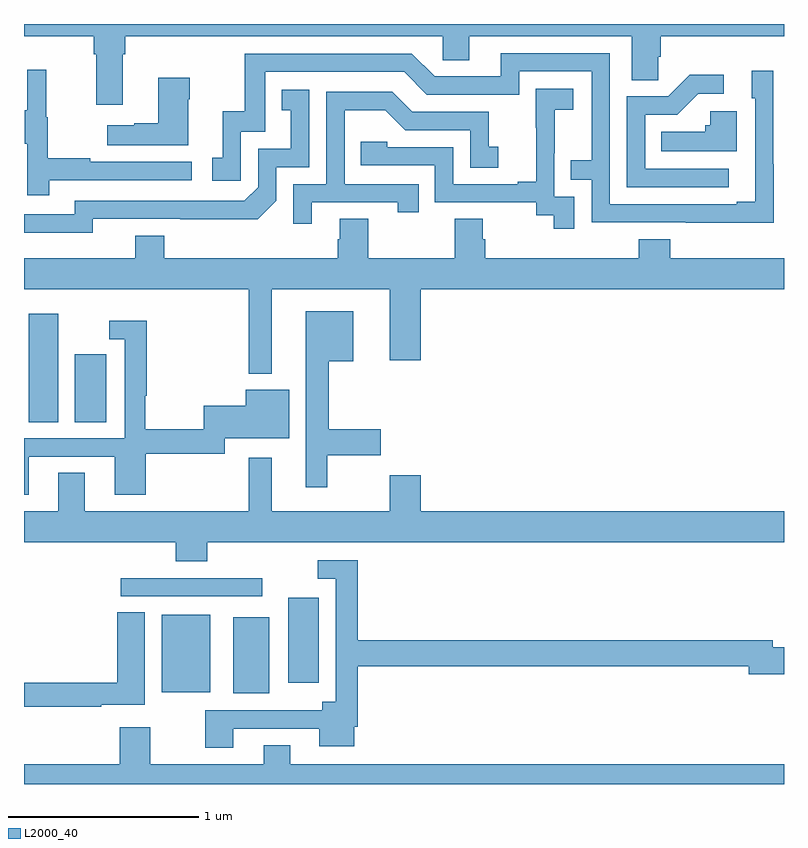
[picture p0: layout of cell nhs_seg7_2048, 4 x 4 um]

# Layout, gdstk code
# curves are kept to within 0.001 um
import gdstk
lib = gdstk.Library(unit=1e-6, precision=1e-09)
def R(c, l, rs):  # rectangles x0, y0, x1, y1
    for r in rs: c.add(gdstk.rectangle(r[:2], r[2:], *l))
def P(c, l, *ps):  # polygons
    for p in ps: c.add(gdstk.Polygon(p, *l))
L2000_40 = (2000, 40)

nhs_seg7_2048 = lib.new_cell('nhs_seg7_2048')
R(nhs_seg7_2048, L2000_40, [(248.102,1010.477,248.29,1010.878), (247.724,1010.483,247.981,1010.89), (248.39,1010.532,248.551,1010.98), (247.509,1010.988,248.254,1011.084), (247.025,1011.904,247.18,1012.474), (247.268,1011.904,247.432,1012.261)])
P(nhs_seg7_2048, L2000_40, [(247.519,1013.84),(247.532,1013.84),(247.532,1013.936),(249.204,1013.936),(249.204,1013.809),(249.343,1013.809),(249.343,1013.936),(250.199,1013.936),(250.199,1013.704),(250.338,1013.704),(250.338,1013.827),(250.352,1013.827),(250.352,1013.936),(251,1013.936),(251,1014),(247,1014),(247,1013.936),(247.367,1013.936),(247.367,1013.84),(247.379,1013.84),(247.379,1013.574),(247.519,1013.574)],
  [(250.947,1013.261),(250.944,1013.261),(250.944,1013.755),(250.829,1013.755),(250.829,1013.61),(250.848,1013.61),(250.848,1013.065),(250.751,1013.065),(250.751,1013.052),(250.083,1013.052),(250.083,1013.847),(249.509,1013.847),(249.509,1013.724),(249.162,1013.724),(249.042,1013.844),(248.163,1013.844),(248.163,1013.542),(248.045,1013.542),(248.045,1013.295),(247.992,1013.295),(247.992,1013.175),(248.142,1013.175),(248.142,1013.433),(248.271,1013.433),(248.271,1013.748),(249,1013.748),(249.12,1013.628),(249.606,1013.628),(249.606,1013.751),(249.987,1013.751),(249.987,1013.282),(249.877,1013.282),(249.877,1013.181),(249.987,1013.181),(249.987,1012.956),(250.947,1012.955)],
  [(247.133,1013.178),(247.882,1013.178),(247.882,1013.274),(247.349,1013.274),(247.349,1013.294),(247.126,1013.294),(247.126,1013.508),(247.118,1013.508),(247.118,1013.758),(247.016,1013.758),(247.016,1013.545),(247.005,1013.545),(247.005,1013.371),(247.016,1013.371),(247.016,1013.1),(247.133,1013.1)],
  [(250.708,1013.238),(250.269,1013.238),(250.269,1013.523),(250.438,1013.523),(250.549,1013.634),(250.684,1013.634),(250.684,1013.732),(250.505,1013.732),(250.392,1013.619),(250.173,1013.619),(250.173,1013.142),(250.708,1013.142)],
  [(247.864,1013.603),(247.872,1013.603),(247.872,1013.716),(247.706,1013.716),(247.706,1013.477),(247.58,1013.477),(247.58,1013.467),(247.437,1013.467),(247.437,1013.363),(247.864,1013.363)],
  [(249.897,1013.091),(249.792,1013.091),(249.792,1013.321),(249.794,1013.321),(249.794,1013.549),(249.892,1013.549),(249.892,1013.659),(249.694,1013.659),(249.694,1013.453),(249.695,1013.453),(249.695,1013.17),(249.599,1013.17),(249.599,1013.157),(249.258,1013.157),(249.258,1013.352),(248.913,1013.352),(248.913,1013.379),(248.773,1013.379),(248.773,1013.256),(249.162,1013.256),(249.162,1013.061),(249.696,1013.061),(249.696,1012.993),(249.789,1012.993),(249.789,1012.923),(249.897,1012.923)],
  [(247.362,1012.974),(248.23,1012.973),(248.328,1013.07),(248.328,1013.247),(248.502,1013.247),(248.502,1013.653),(248.356,1013.653),(248.356,1013.547),(248.405,1013.547),(248.405,1013.343),(248.232,1013.343),(248.232,1013.142),(248.16,1013.07),(247.266,1013.07),(247.266,1012.998),(247,1012.998),(247,1012.901),(247.362,1012.901)],
  [(248.515,1013.061),(248.966,1013.061),(248.966,1013.01),(249.077,1013.01),(249.077,1013.157),(248.688,1013.157),(248.688,1013.546),(248.902,1013.546),(249.006,1013.442),(249.348,1013.442),(249.348,1013.244),(249.496,1013.244),(249.496,1013.353),(249.447,1013.353),(249.447,1013.538),(249.043,1013.538),(248.938,1013.643),(248.592,1013.643),(248.592,1013.157),(248.418,1013.157),(248.418,1012.95),(248.515,1012.95)],
  [(250.75,1013.542),(250.611,1013.542),(250.611,1013.466),(250.585,1013.466),(250.585,1013.434),(250.354,1013.434),(250.354,1013.33),(250.75,1013.33)],
  [(248.305,1012.604),(248.924,1012.604),(248.924,1012.23),(249.088,1012.23),(249.088,1012.604),(251,1012.604),(251,1012.768),(250.4,1012.768),(250.4,1012.867),(250.235,1012.867),(250.235,1012.768),(249.428,1012.768),(249.428,1012.866),(249.415,1012.866),(249.415,1012.976),(249.268,1012.976),(249.268,1012.768),(248.811,1012.768),(248.811,1012.976),(248.663,1012.976),(248.663,1012.866),(248.651,1012.866),(248.651,1012.768),(247.739,1012.768),(247.739,1012.885),(247.586,1012.885),(247.586,1012.768),(247,1012.768),(247,1012.604),(248.184,1012.604),(248.184,1012.16),(248.305,1012.16)],
  [(248.597,1011.73),(248.878,1011.73),(248.878,1011.867),(248.605,1011.867),(248.605,1012.226),(248.734,1012.226),(248.734,1012.489),(248.483,1012.489),(248.483,1011.561),(248.597,1011.561)],
  [(247.024,1011.723),(247.478,1011.723),(247.478,1011.522),(247.64,1011.522),(247.64,1011.738),(248.056,1011.738),(248.056,1011.821),(248.395,1011.821),(248.395,1012.075),(248.168,1012.075),(248.168,1011.992),(247.946,1011.992),(247.946,1011.866),(247.639,1011.866),(247.639,1012.043),(247.646,1012.043),(247.646,1012.438),(247.449,1012.438),(247.449,1012.341),(247.53,1012.341),(247.53,1011.819),(247,1011.819),(247,1011.522),(247.024,1011.522)],
  [(247.964,1011.272),(251,1011.272),(251,1011.436),(249.088,1011.436),(249.088,1011.625),(248.924,1011.625),(248.924,1011.436),(248.305,1011.436),(248.305,1011.718),(248.184,1011.718),(248.184,1011.436),(247.321,1011.436),(247.321,1011.638),(247.181,1011.638),(247.181,1011.436),(247,1011.436),(247,1011.272),(247.799,1011.272),(247.799,1011.173),(247.964,1011.173)],
  [(248.101,1010.292),(248.555,1010.292),(248.555,1010.198),(248.737,1010.198),(248.737,1010.302),(248.756,1010.302),(248.756,1010.62),(250.814,1010.62),(250.814,1010.578),(251,1010.578),(251,1010.72),(250.942,1010.72),(250.942,1010.756),(248.756,1010.756),(248.756,1011.177),(248.547,1011.177),(248.547,1011.081),(248.64,1011.081),(248.64,1010.434),(248.57,1010.434),(248.57,1010.388),(247.954,1010.388),(247.954,1010.19),(248.101,1010.19)],
  [(247.406,1010.418),(247.636,1010.418),(247.636,1010.903),(247.49,1010.903),(247.49,1010.534),(247,1010.534),(247,1010.406),(247.406,1010.406)],
  [(251,1010.104),(248.401,1010.104),(248.401,1010.203),(248.261,1010.203),(248.261,1010.104),(247.665,1010.104),(247.665,1010.299),(247.505,1010.299),(247.505,1010.104),(247,1010.104),(247,1010),(251,1010)])

lib.write_gds('nhs_seg7_2048.gds')
